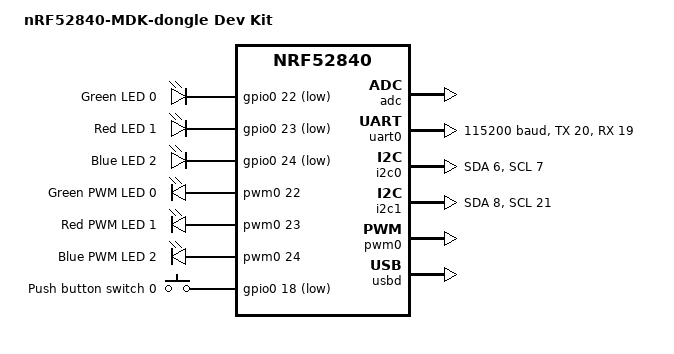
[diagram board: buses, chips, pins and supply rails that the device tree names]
/*
 * Copyright (c) 2021 Adam BZH (bzhthedeveloper@gmail.com)
 *
 * SPDX-License-Identifier: Apache-2.0
 */

/dts-v1/;
#include <nordic/nrf52840_qiaa.dtsi>

/ {
  model = "nRF52840-MDK-dongle Dev Kit";
  compatible = "nordic,nRF52840-MDK-dongle";

  chosen {
    zephyr,console = &uart0;
    zephyr,shell-uart = &uart0;
    zephyr,uart-mcumgr = &uart0;
    zephyr,bt-mon-uart = &uart0;
    zephyr,bt-c2h-uart = &uart0;
    zephyr,sram = &sram0;
    zephyr,flash = &flash0;
    zephyr,code-partition = &code_partition;
  };

  leds {
    compatible = "gpio-leds";
    led0_green: led_0 {
      gpios = <&gpio0 22 GPIO_ACTIVE_LOW>;
      label = "Green LED 0";
    };
    led1_red: led_1 {
      gpios = <&gpio0 23 GPIO_ACTIVE_LOW>;
      label = "Red LED 1";
    };
    led2_blue: led_2 {
      gpios = <&gpio0 24 GPIO_ACTIVE_LOW>;
      label = "Blue LED 2";
    };
  };

  pwmleds {
    compatible = "pwm-leds";
    pwm_led0_green: pwm_led_0 {
      pwms = <&pwm0 22>;
      label = "Green PWM LED 0";
    };
    pwm_led1_red: pwm_led_1 {
      pwms = <&pwm0 23>;
      label = "Red PWM LED 1";
    };
    pwm_led2_blue: pwm_led_2 {
      pwms = <&pwm0 24>;
      label = "Blue PWM LED 2";
    };
  };

  buttons {
    compatible = "gpio-keys";
    button0: button_0 {
      gpios = <&gpio0 18 (GPIO_PULL_UP | GPIO_ACTIVE_LOW)>;
      label = "Push button switch 0";
    };
  };

  /* These aliases are provided for compatibility with samples */
  aliases {
    sw0 = &button0;
    led0 = &led0_green;
    led1 = &led1_red;
    led2 = &led2_blue;
    led0-green = &led0_green;
    led1-red   = &led1_red;
    led1-blue  = &led2_blue;
    pwm-led0 = &pwm_led0_green;
    pwm-led1 = &pwm_led1_red;
    pwm-led2 = &pwm_led2_blue;
    green-pwm-led = &pwm_led0_green;
    red-pwm-led = &pwm_led1_red;
    blue-pwm-led = &pwm_led2_blue;
  };
};

&adc {
  status = "okay";
};

&gpiote {
  status = "okay";
};

&gpio0 {
  status = "okay";
};

&gpio1 {
  status = "okay";
};

&uart0 {
  compatible = "nordic,nrf-uart";
  current-speed = <115200>;
  status = "okay";
  tx-pin = <20>;
  rx-pin = <19>;
  rts-pin = <2>;
  cts-pin = <3>;
};

&i2c0 {
  compatible = "nordic,nrf-twi";
  status = "okay";
  sda-pin = <6>;
  scl-pin = <7>;
};

&i2c1 {
  compatible = "nordic,nrf-twi";
  status = "okay";
  sda-pin = <8>;
  scl-pin = <21>;
};

&pwm0 {
  status = "okay";
  ch0-pin = <22>;
  ch0-inverted;
  ch1-pin = <23>;
  ch1-inverted;
  ch2-pin = <24>;
  ch2-inverted;
};

&flash0 {
  /*
   * For more information, see:
   * https://docs.zephyrproject.org/latest/reference/devicetree/bindings/fixed-partitions.html
   */
  partitions {
    compatible = "fixed-partitions";
    #address-cells = <1>;
    #size-cells = <1>;

    sd_partition: partition@0 {
      label = "mbr";
      reg = <0x00000000 0x00001000>;
    };
    code_partition: partition@1000 {
      label = "code_partition";
      reg = <0x00001000 0x000d3000>;
    };

    /*
     * The flash starting at 0x000d4000 and ending at
     * 0x000f3fff is reserved for use by the application.
     */

    /*
     * Storage partition will be used by FCB/LittleFS/NVS
     * if enabled.
     */
    storage_partition: partition@d4000 {
      label = "storage";
      reg = <0x000d4000 0x00020000>;
    };

    boot_partition: partition@f4000 {
      label = "adafruit_boot";
      reg = <0x000f4000 0x0000c000>;
    };
  };
};

&usbd {
  compatible = "nordic,nrf-usbd";
  status = "okay";
};
